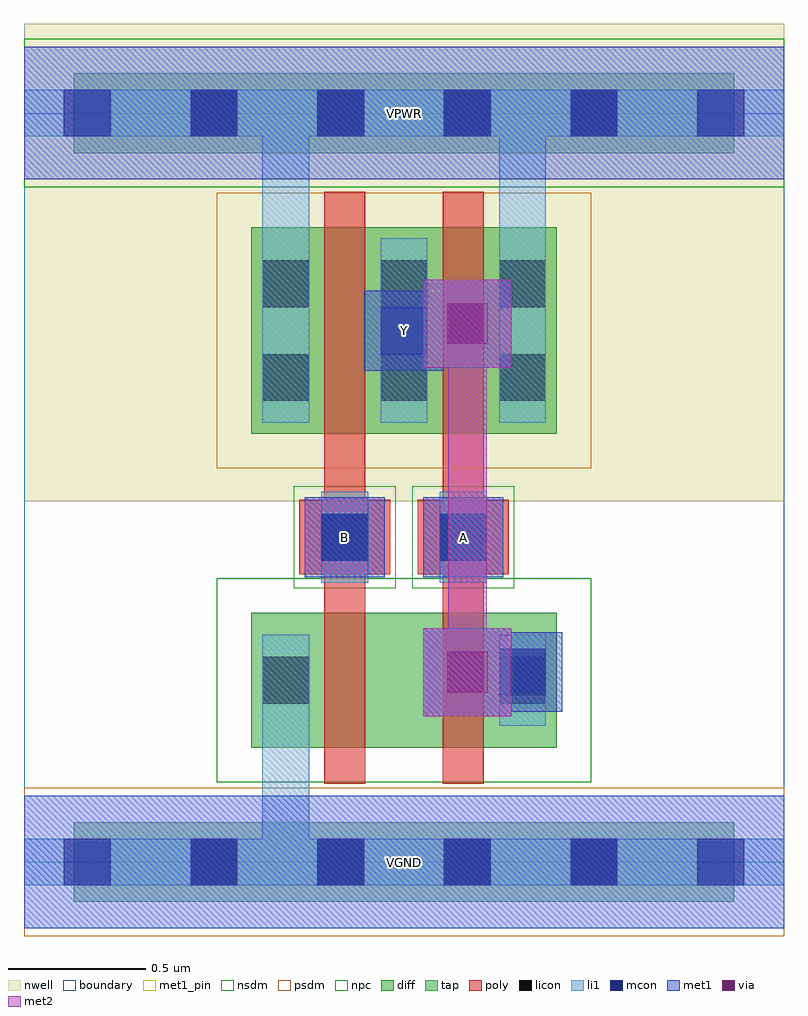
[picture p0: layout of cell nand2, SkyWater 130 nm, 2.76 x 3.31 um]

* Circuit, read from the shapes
.subckt nand2 A B VGND VPWR Y
XM1 n1 B VGND VGND sky130_fd_pr__nfet_01v8 w=0.49 l=0.15
XM2 Y A n1 VGND sky130_fd_pr__nfet_01v8 w=0.49 l=0.15
XM3 Y B VPWR VPWR sky130_fd_pr__pfet_01v8 w=0.75 l=0.15
XM4 VPWR A Y VPWR sky130_fd_pr__pfet_01v8 w=0.75 l=0.15
.ends

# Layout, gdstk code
import gdstk
lib = gdstk.Library(unit=1e-6, precision=1e-09)
def R(c, l, rs):  # rectangles x0, y0, x1, y1
    for r in rs: c.add(gdstk.rectangle(r[:2], r[2:], *l))
def A(c, l, x, y, w, h, nx, ny, dx, dy):  # array of equal rectangles
    R(c, l, [(x+i*dx, y+j*dy, x+i*dx+w, y+j*dy+h) for i in range(nx) for j in range(ny)])
nwell = (64, 20)
diff = (65, 20)
tap = (65, 44)
poly = (66, 20)
licon = (66, 44)
li1 = (67, 20)
mcon = (67, 44)
met1_pin = (68, 16)
met1 = (68, 20)
via = (68, 44)
met2 = (69, 20)
nsdm = (93, 44)
psdm = (94, 20)
npc = (95, 20)
boundary = (235, 4)

nand2 = lib.new_cell('nand2')
R(nand2, nwell, [(0,1.31,2.76,3.045)])
R(nand2, diff, [(0.825,0.415,1.935,0.905), (0.825,1.555,1.935,2.305)])
R(nand2, tap, [(0.18,-0.145,2.58,0.145), (0.18,2.575,2.58,2.865)])
R(nand2, poly, [(1.09,0.285,1.24,2.435), (1.52,0.285,1.67,2.435), (1,1.045,1.33,1.315), (1.43,1.045,1.76,1.315)])
A(nand2, licon, 0.605, -0.085, 0.17, 0.17, 4, 2, 0.46, 2.72)
A(nand2, licon, 0.865, 1.675, 0.17, 0.17, 3, 2, 0.43, 0.34)
R(nand2, licon, [(0.865,0.575,1.035,0.745), (1.725,0.575,1.895,0.745), (1.08,1.095,1.25,1.265), (1.51,1.095,1.68,1.265)])
A(nand2, li1, 0.865, 1.595, 0.17, 0.67, 3, 1, 0.43, 0)
R(nand2, li1, [(0,-0.085,2.76,0.085), (0.865,-0.085,1.035,0.825), (0.865,0.495,1.035,0.825), (1.725,0.495,1.895,0.825), (1.08,1.015,1.25,1.345), (1.51,1.015,1.68,1.345), (0.865,1.595,1.035,2.805), (1.725,1.595,1.895,2.805), (0,2.635,2.76,2.805)])
A(nand2, mcon, 0.145, -0.085, 0.17, 0.17, 6, 2, 0.46, 2.72)
R(nand2, mcon, [(1.725,0.605,1.895,0.775), (1.08,1.095,1.25,1.265), (1.51,1.095,1.68,1.265), (1.295,1.845,1.465,2.015)])
R(nand2, met1_pin, [(0,-0.24,2.76,0.24), (1.02,1.035,1.31,1.325), (1.45,1.035,1.74,1.325), (1.235,1.785,1.525,2.075), (0,2.48,2.76,2.96)])
R(nand2, met1, [(0,-0.24,2.76,0.24), (1.45,0.53,1.77,0.85), (1.665,0.545,1.955,0.835), (1.54,0.62,1.88,0.76), (1.02,1.035,1.31,1.325), (1.45,1.035,1.74,1.325), (1.235,1.785,1.525,2.075), (1.45,1.795,1.77,2.115), (1.31,1.885,1.45,2.025), (1.31,1.885,1.68,2.025), (0,2.48,2.76,2.96)])
R(nand2, via, [(1.535,0.615,1.685,0.765), (1.535,1.88,1.685,2.03)])
R(nand2, met2, [(1.45,0.53,1.77,0.85), (1.54,0.62,1.68,2.025), (1.45,1.795,1.77,2.115)])
R(nand2, nsdm, [(0.7,0.29,2.06,1.03), (0,2.45,2.76,2.99)])
R(nand2, psdm, [(0,-0.27,2.76,0.27), (0.7,1.43,2.06,2.43)])
R(nand2, npc, [(0.98,0.995,1.35,1.365), (1.41,0.995,1.78,1.365)])
R(nand2, boundary, [(0,0,2.76,2.72)])
nand2.add(gdstk.Label('A', (1.595,1.18), layer=68, texttype=5))
nand2.add(gdstk.Label('B', (1.165,1.18), layer=68, texttype=5))
nand2.add(gdstk.Label('Y', (1.38,1.93), layer=68, texttype=5))
nand2.add(gdstk.Label('VPWR', (1.38,2.72), layer=68, texttype=5))
nand2.add(gdstk.Label('VGND', (1.38,0), layer=68, texttype=5))
nand2.add(gdstk.Label('A', (1.595,1.18), layer=68, texttype=16))
nand2.add(gdstk.Label('B', (1.165,1.18), layer=68, texttype=16))
nand2.add(gdstk.Label('Y', (1.38,1.93), layer=68, texttype=16))
nand2.add(gdstk.Label('VPWR', (1.38,2.72), layer=68, texttype=16))
nand2.add(gdstk.Label('VGND', (1.38,0), layer=68, texttype=16))

lib.write_gds('nand2.gds')
